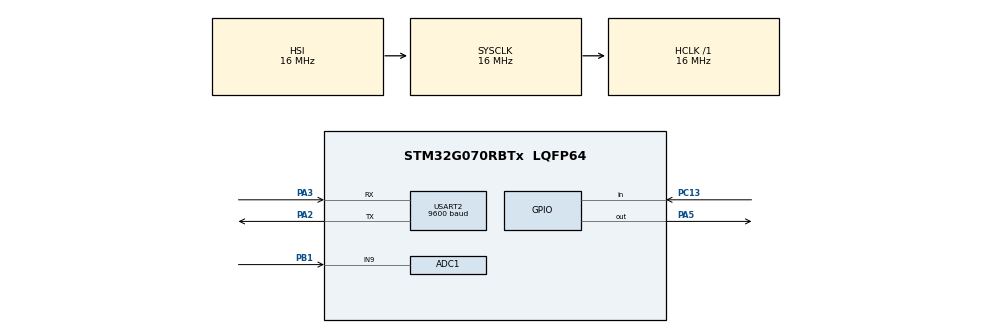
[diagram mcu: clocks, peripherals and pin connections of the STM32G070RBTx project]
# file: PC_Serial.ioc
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ADC1.Channel-0\#ChannelRegularConversion=ADC_CHANNEL_9
ADC1.NbrOfConversionFlag=1
ADC1.Rank-0\#ChannelRegularConversion=1
ADC1.SamplingTime-0\#ChannelRegularConversion=ADC_SAMPLINGTIME_COMMON_1
ADC1.SelectedChannel=ADC_CHANNEL_9
ADC1.master=1
Mcu.Family=STM32G0
Mcu.Name=STM32G070RBTx
Mcu.Package=LQFP64
NVIC.USART2_IRQn=true\:0\:0\:false\:false\:true\:true\:true
PA2.Mode=Asynchronous
PA2.Signal=USART2_TX
PA3.Mode=Asynchronous
PA3.Signal=USART2_RX
PA5.Signal=GPIO_Output
PB1.Mode=IN9
PB1.Signal=ADC1_IN9
PC13.Signal=GPIO_Input
ProjectManager.HeapSize=0x200
ProjectManager.StackSize=0x400
ProjectManager.TargetToolchain=EWARM V8.32
RCC.AHBFreq_Value=16000000
RCC.CortexFreq_Value=16000000
RCC.EXTERNAL_CLOCK_VALUE=48000
RCC.HCLKFreq_Value=16000000
RCC.HSE_VALUE=8000000
RCC.HSI_VALUE=16000000
RCC.LSE_VALUE=32768
RCC.SYSCLKFreq_VALUE=16000000
RCC.VCOOutputFreq_Value=128000000
USART2.BaudRate=9600
USART2.VirtualMode-Asynchronous=VM_ASYNC
VP_SYS_VS_DBSignals.Mode=DisableDeadBatterySignals
board=custom

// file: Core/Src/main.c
/* USER CODE BEGIN Header */
/**
  ******************************************************************************
  * @file           : main.c
  * @brief          : Main program body
  ******************************************************************************
  * @attention
  *
  * <h2><center>&copy; Copyright (c) 2022 STMicroelectronics.
  * All rights reserved.</center></h2>
  *
  * This software component is licensed by ST under BSD 3-Clause license,
  * the "License"; You may not use this file except in compliance with the
  * License. You may obtain a copy of the License at:
  *                        opensource.org/licenses/BSD-3-Clause
  *
  ******************************************************************************
  */
/* USER CODE END Header */
#include "main.h"

/* USER CODE BEGIN Includes */
#include "scheduler.h"
#include "serial_user.h"
#include <stm32g0xx_ll_usart.h>

/* USER CODE END Includes */

ADC_HandleTypeDef hadc1;

UART_HandleTypeDef huart2;

/* USER CODE BEGIN PV */
// scheduler stuff
extern uint8_t ten_mS_Flag;
extern uint8_t twentyfive_mS_Flag;
extern uint8_t hundred_mS_Flag;
extern uint8_t one_S_Flag;

/* USER CODE END PV */

void SystemClock_Config(void);
static void MX_GPIO_Init(void);
static void MX_ADC1_Init(void);
static void MX_USART2_UART_Init(void);

int main(void)
{

  /* MCU Configuration--------------------------------------------------------*/

  /* Reset of all peripherals, Initializes the Flash interface and the Systick. */
  HAL_Init();

  /* Configure the system clock */
  SystemClock_Config();

  /* Initialize all configured peripherals */
  MX_GPIO_Init();
  MX_ADC1_Init();
  MX_USART2_UART_Init();
  /* USER CODE BEGIN 2 */

  LL_USART_EnableIT_RXNE_RXFNE(USART2);

  SendString("\r\nBongiorno!\r\n", 14, StripZeros, AddCRLF);

  /* USER CODE END 2 */

  /* Infinite loop */
  /* USER CODE BEGIN WHILE */
  while (1)
  {
    //---------------------------------
    // 10mS Tasks
    if (ten_mS_Flag) {
      ten_mS_Flag = false;

    }  // end of 10mS Tasks
    //---------------------------------

    //---------------------------------
    // 25mS Tasks
    if (twentyfive_mS_Flag) {
      twentyfive_mS_Flag = false;

    }  // end of 25mS Tasks
    //---------------------------------

    //---------------------------------
    // 100mS Tasks
    if (hundred_mS_Flag) {
      hundred_mS_Flag = false;

      if (HAL_GPIO_ReadPin(BOARD_MOUNTED_BUTTON) == 0) {
        //SendString("Button Pressed", 14, StripZeros, AddCRLF);
        buttonPushed = true;
        while (HAL_GPIO_ReadPin(BOARD_MOUNTED_BUTTON) == 0);
      }

    }  // end of 100mS Tasks
    //---------------------------------

    //---------------------------------
    // 1 Sec Tasks
    if (one_S_Flag) {
      one_S_Flag = false;

    } // end of 1Sec Tasks
    //---------------------------------

    //---------------------------------
    // Every time through the loop
    if (nextSerialRxIn != nextSerialRx2Proc) {
      //ProcessReceiveByte();
      //ProcessReceiveByteWithLength();
      ProcessReceiveBuffer();
    }

    if (processPacket == true) {
      processPacket = false;

      ProcessPacket();
    }

    // end Every time through the loop
    //---------------------------------

    /* USER CODE END WHILE */

  }
}

void SystemClock_Config(void)
{
  RCC_OscInitTypeDef RCC_OscInitStruct = {0};
  RCC_ClkInitTypeDef RCC_ClkInitStruct = {0};
  RCC_PeriphCLKInitTypeDef PeriphClkInit = {0};

  /** Configure the main internal regulator output voltage
  */
  HAL_PWREx_ControlVoltageScaling(PWR_REGULATOR_VOLTAGE_SCALE1);
  /** Initializes the RCC Oscillators according to the specified parameters
  * in the RCC_OscInitTypeDef structure.
  */
  RCC_OscInitStruct.OscillatorType = RCC_OSCILLATORTYPE_HSI;
  RCC_OscInitStruct.HSIState = RCC_HSI_ON;
  RCC_OscInitStruct.HSIDiv = RCC_HSI_DIV1;
  RCC_OscInitStruct.HSICalibrationValue = RCC_HSICALIBRATION_DEFAULT;
  RCC_OscInitStruct.PLL.PLLState = RCC_PLL_NONE;
  if (HAL_RCC_OscConfig(&RCC_OscInitStruct) != HAL_OK)
  {
    Error_Handler();
  }
  /** Initializes the CPU, AHB and APB buses clocks
  */
  RCC_ClkInitStruct.ClockType = RCC_CLOCKTYPE_HCLK|RCC_CLOCKTYPE_SYSCLK
                              |RCC_CLOCKTYPE_PCLK1;
  RCC_ClkInitStruct.SYSCLKSource = RCC_SYSCLKSOURCE_HSI;
  RCC_ClkInitStruct.AHBCLKDivider = RCC_SYSCLK_DIV1;
  RCC_ClkInitStruct.APB1CLKDivider = RCC_HCLK_DIV1;

  if (HAL_RCC_ClockConfig(&RCC_ClkInitStruct, FLASH_LATENCY_0) != HAL_OK)
  {
    Error_Handler();
  }
  /** Initializes the peripherals clocks
  */
  PeriphClkInit.PeriphClockSelection = RCC_PERIPHCLK_USART2|RCC_PERIPHCLK_ADC;
  PeriphClkInit.Usart2ClockSelection = RCC_USART2CLKSOURCE_PCLK1;
  PeriphClkInit.AdcClockSelection = RCC_ADCCLKSOURCE_SYSCLK;
  if (HAL_RCCEx_PeriphCLKConfig(&PeriphClkInit) != HAL_OK)
  {
    Error_Handler();
  }
}

static void MX_ADC1_Init(void)
{

  ADC_ChannelConfTypeDef sConfig = {0};

  /** Configure the global features of the ADC (Clock, Resolution, Data Alignment and number of conversion)
  */
  hadc1.Instance = ADC1;
  hadc1.Init.ClockPrescaler = ADC_CLOCK_SYNC_PCLK_DIV2;
  hadc1.Init.Resolution = ADC_RESOLUTION_12B;
  hadc1.Init.DataAlign = ADC_DATAALIGN_RIGHT;
  hadc1.Init.ScanConvMode = ADC_SCAN_DISABLE;
  hadc1.Init.EOCSelection = ADC_EOC_SINGLE_CONV;
  hadc1.Init.LowPowerAutoWait = DISABLE;
  hadc1.Init.LowPowerAutoPowerOff = DISABLE;
  hadc1.Init.ContinuousConvMode = DISABLE;
  hadc1.Init.NbrOfConversion = 1;
  hadc1.Init.DiscontinuousConvMode = DISABLE;
  hadc1.Init.ExternalTrigConv = ADC_SOFTWARE_START;
  hadc1.Init.ExternalTrigConvEdge = ADC_EXTERNALTRIGCONVEDGE_NONE;
  hadc1.Init.DMAContinuousRequests = DISABLE;
  hadc1.Init.Overrun = ADC_OVR_DATA_PRESERVED;
  hadc1.Init.SamplingTimeCommon1 = ADC_SAMPLETIME_1CYCLE_5;
  hadc1.Init.SamplingTimeCommon2 = ADC_SAMPLETIME_1CYCLE_5;
  hadc1.Init.OversamplingMode = DISABLE;
  hadc1.Init.TriggerFrequencyMode = ADC_TRIGGER_FREQ_HIGH;
  if (HAL_ADC_Init(&hadc1) != HAL_OK)
  {
    Error_Handler();
  }
  /** Configure Regular Channel
  */
  sConfig.Channel = ADC_CHANNEL_9;
  sConfig.Rank = ADC_REGULAR_RANK_1;
  sConfig.SamplingTime = ADC_SAMPLINGTIME_COMMON_1;
  if (HAL_ADC_ConfigChannel(&hadc1, &sConfig) != HAL_OK)
  {
    Error_Handler();
  }

}

static void MX_USART2_UART_Init(void)
{

  huart2.Instance = USART2;
  huart2.Init.BaudRate = 9600;
  huart2.Init.WordLength = UART_WORDLENGTH_8B;
  huart2.Init.StopBits = UART_STOPBITS_1;
  huart2.Init.Parity = UART_PARITY_NONE;
  huart2.Init.Mode = UART_MODE_TX_RX;
  huart2.Init.HwFlowCtl = UART_HWCONTROL_NONE;
  huart2.Init.OverSampling = UART_OVERSAMPLING_16;
  huart2.Init.OneBitSampling = UART_ONE_BIT_SAMPLE_DISABLE;
  huart2.Init.ClockPrescaler = UART_PRESCALER_DIV1;
  huart2.AdvancedInit.AdvFeatureInit = UART_ADVFEATURE_NO_INIT;
  if (HAL_UART_Init(&huart2) != HAL_OK)
  {
    Error_Handler();
  }
  if (HAL_UARTEx_SetTxFifoThreshold(&huart2, UART_TXFIFO_THRESHOLD_1_8) != HAL_OK)
  {
    Error_Handler();
  }
  if (HAL_UARTEx_SetRxFifoThreshold(&huart2, UART_RXFIFO_THRESHOLD_1_8) != HAL_OK)
  {
    Error_Handler();
  }
  if (HAL_UARTEx_DisableFifoMode(&huart2) != HAL_OK)
  {
    Error_Handler();
  }

}

static void MX_GPIO_Init(void)
{
  GPIO_InitTypeDef GPIO_InitStruct = {0};

  /* GPIO Ports Clock Enable */
  __HAL_RCC_GPIOC_CLK_ENABLE();
  __HAL_RCC_GPIOA_CLK_ENABLE();
  __HAL_RCC_GPIOB_CLK_ENABLE();

  /*Configure GPIO pin Output Level */
  HAL_GPIO_WritePin(GPIOA, GPIO_PIN_5, GPIO_PIN_RESET);

  /*Configure GPIO pin : PC13 */
  GPIO_InitStruct.Pin = GPIO_PIN_13;
  GPIO_InitStruct.Mode = GPIO_MODE_INPUT;
  GPIO_InitStruct.Pull = GPIO_NOPULL;
  HAL_GPIO_Init(GPIOC, &GPIO_InitStruct);

  /*Configure GPIO pin : PA5 */
  GPIO_InitStruct.Pin = GPIO_PIN_5;
  GPIO_InitStruct.Mode = GPIO_MODE_OUTPUT_PP;
  GPIO_InitStruct.Pull = GPIO_NOPULL;
  GPIO_InitStruct.Speed = GPIO_SPEED_FREQ_LOW;
  HAL_GPIO_Init(GPIOA, &GPIO_InitStruct);

}

void Error_Handler(void)
{
  __disable_irq();
  while (1)
  {
  }
}

/************************ (C) COPYRIGHT STMicroelectronics *****END OF FILE****/
